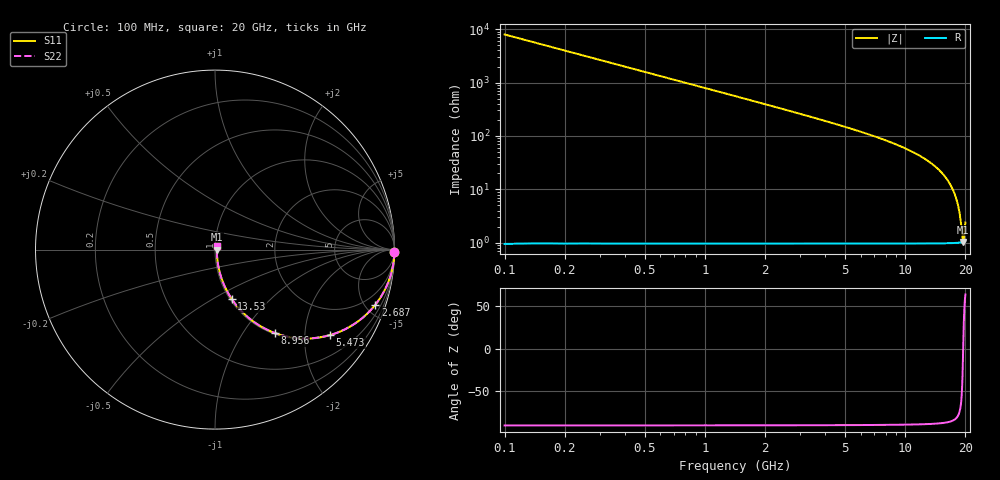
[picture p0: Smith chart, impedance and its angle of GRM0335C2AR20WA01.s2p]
!Murata Part Number: GRM0335C2AR20WA01
!These Parameters are Measured in Series Mode Connection
!Data Generated on Mar 30, 2021
!  o--ll--o
!Port1  Port2
!  o------o
!Operation Temp=25[degC], DC Bias Voltage=0[V]
!Freq. Start=100[MHz] Stop=20[GHz] 401[Steps]
# Hz S RI R 50
!Freq.(Hz) S11(Real) S11(Imag) S21(Real) S21(Imag) S12(Real) S12(Imag) S22(Real) S22(Imag)
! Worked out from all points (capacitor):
!   401 points, 100 MHz to 20 GHz, reference 50 ohm
!   read as one part in series: C = 200 fF near 199.5 MHz
!   lowest |Z| = 1.03 ohm at 19.5 GHz (marker M1)
!   series resonance near 19.5 GHz, so ESL is about 330 pH
!   S11 on the Smith chart (normalised r, x): 100 MHz: open; 2.687 GHz: 1.02, -5.81; 5.473 GHz: 1.02, -2.68; 8.956 GHz: 1.02, -1.40; 13.53 GHz: 1.02, -0.61; 20 GHz: 1.02, +0.04
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1e8  0.9998 -0.0126  0.000159 0.0126  0.000159 0.0126  0.9998 -0.0126
2.99e8  0.9986 -0.0375  0.00142 0.0375  0.00142 0.0375  0.9986 -0.0375
3.985e8  0.9975 -0.05  0.00253 0.05  0.00253 0.05  0.9975 -0.05
5.975e8  0.9943 -0.0747  0.00567 0.0747  0.00567 0.0747  0.9943 -0.0747
8.4625e8  0.9887 -0.1053  0.0113 0.1053  0.0113 0.1053  0.9887 -0.1053
1.5925e9  0.9607 -0.1934  0.0393 0.1934  0.0393 0.1934  0.9607 -0.1934
2.687e9  0.8933 -0.3071  0.1067 0.3071  0.1067 0.3071  0.8933 -0.3071
3.43325e9  0.8336 -0.3703  0.1664 0.3703  0.1664 0.3703  0.8336 -0.3703
5.473e9  0.6414 -0.476  0.3586 0.476  0.3586 0.476  0.6414 -0.476
6.7665e9  0.5173 -0.4951  0.4827 0.4951  0.4827 0.4951  0.5173 -0.4951
8.9555e9  0.3326 -0.4643  0.6674 0.4643  0.6674 0.4643  0.3326 -0.4643
1.005e10  0.2572 -0.4288  0.7428 0.4288  0.7428 0.4288  0.2572 -0.4288
1.338325e10  0.098 -0.2824  0.902 0.2824  0.902 0.2824  0.098 -0.2824
1.35325e10  0.0932 -0.2752  0.9068 0.2752  0.9068 0.2752  0.0932 -0.2752
1.67165e10  0.0253 -0.1231  0.9747 0.1231  0.9747 0.1231  0.0253 -0.1231
1.766175e10  0.0163 -0.0799  0.9837 0.0799  0.9837 0.0799  0.0163 -0.0799
1.8408e10  0.0121 -0.0467  0.9879 0.0467  0.9879 0.0467  0.0121 -0.0467
1.885575e10  0.0108 -0.0273  0.9892 0.0273  0.9892 0.0273  0.0108 -0.0273
1.935325e10  0.0102 -0.00603  0.9898 0.00603  0.9898 0.00603  0.0102 -0.00603
1.95025e10  0.0102 0.000267  0.9898 -0.000267  0.9898 -0.000267  0.0102 0.000267
1.9602e10  0.0103 0.00445  0.9897 -0.00445  0.9897 -0.00445  0.0103 0.00445
2e10  0.0109 0.021  0.9891 -0.021  0.9891 -0.021  0.0109 0.021
